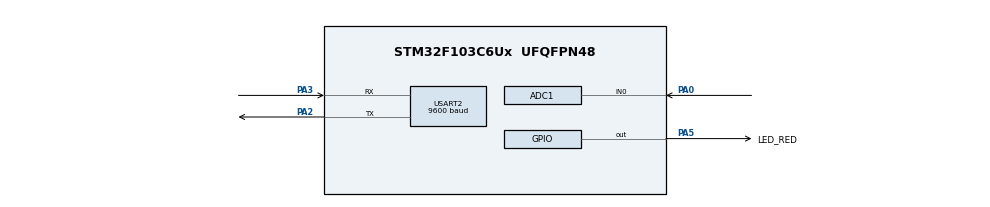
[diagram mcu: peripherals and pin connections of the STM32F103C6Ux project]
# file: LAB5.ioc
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ADC1.Channel-0\#ChannelRegularConversion=ADC_CHANNEL_0
ADC1.ContinuousConvMode=ENABLE
ADC1.NbrOfConversionFlag=1
ADC1.Rank-0\#ChannelRegularConversion=1
ADC1.SamplingTime-0\#ChannelRegularConversion=ADC_SAMPLETIME_1CYCLE_5
ADC1.master=1
Mcu.Family=STM32F1
Mcu.Name=STM32F103C6Ux
Mcu.Package=UFQFPN48
NVIC.ADC1_2_IRQn=true\:0\:0\:false\:false\:true\:true\:true\:true
NVIC.PriorityGroup=NVIC_PRIORITYGROUP_4
NVIC.TIM2_IRQn=true\:0\:0\:false\:false\:true\:true\:true\:true
NVIC.USART2_IRQn=true\:0\:0\:false\:false\:true\:true\:true\:true
PA0-WKUP.Signal=ADCx_IN0
PA2.Mode=Asynchronous
PA2.Signal=USART2_TX
PA3.Mode=Asynchronous
PA3.Signal=USART2_RX
PA5.GPIO_Label=LED_RED
PA5.Signal=GPIO_Output
ProjectManager.HeapSize=0x200
ProjectManager.StackSize=0x400
ProjectManager.TargetToolchain=STM32CubeIDE
RCC.APB1Freq_Value=8000000
RCC.APB2Freq_Value=8000000
SH.ADCx_IN0.0=ADC1_IN0,IN0
TIM2.Period=9
TIM2.Prescaler=7999
USART2.BaudRate=9600
USART2.VirtualMode=VM_ASYNC
VP_SYS_VS_ND.Mode=No_Debug
VP_TIM2_VS_ClockSourceINT.Mode=Internal
board=custom

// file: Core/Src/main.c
/* USER CODE BEGIN Header */
/**
  ******************************************************************************
  * @file           : main.c
  * @brief          : Main program body
  ******************************************************************************
  * @attention
  *
  * Copyright (c) 2025 STMicroelectronics.
  * All rights reserved.
  *
  * This software is licensed under terms that can be found in the LICENSE file
  * in the root directory of this software component.
  * If no LICENSE file comes with this software, it is provided AS-IS.
  *
  ******************************************************************************
  */
/* USER CODE END Header */
#include "main.h"

/* USER CODE BEGIN Includes */
#include <stdio.h>
#include "global.h"
#include "command_parser_fsm.h"
#include "uart_comm_fsm.h"
#include "software_timer.h"
/* USER CODE END Includes */

ADC_HandleTypeDef hadc1;

TIM_HandleTypeDef htim2;

UART_HandleTypeDef huart2;

/* USER CODE BEGIN PV */
uint8_t temp = 0;
uint8_t buffer[MAX_BUFFER_SIZE];
uint8_t index_buffer = 0;
uint8_t buffer_flag = 0;
uint8_t command_flag = 0;
uint8_t command_data = NO_CMD;
uint32_t ADC_Value = 0;
/* USER CODE END PV */

void SystemClock_Config(void);
static void MX_GPIO_Init(void);
static void MX_ADC1_Init(void);
static void MX_USART2_UART_Init(void);
static void MX_TIM2_Init(void);

int main(void)
{

  /* MCU Configuration--------------------------------------------------------*/

  /* Reset of all peripherals, Initializes the Flash interface and the Systick. */
  HAL_Init();

  /* Configure the system clock */
  SystemClock_Config();

  /* Initialize all configured peripherals */
  MX_GPIO_Init();
  MX_ADC1_Init();
  MX_USART2_UART_Init();
  MX_TIM2_Init();
  /* USER CODE BEGIN 2 */
  HAL_UART_Receive_IT(&huart2, &temp, 1); // Kích hoạt ngắt UART lần đầu
  HAL_ADC_Start(&hadc1);                  // Kích hoạt ADC
  HAL_TIM_Base_Start_IT(&htim2);
  /* USER CODE END 2 */

  /* Infinite loop */
  /* USER CODE BEGIN WHILE */
setTimer2(500);
  while (1)
  {
    /* USER CODE END WHILE */

    /* USER CODE BEGIN 3 */
      command_parser_fsm();
      uart_communiation_fsm();
      if(timer2_flag == 1){
    	  HAL_GPIO_TogglePin(LED_RED_GPIO_Port, LED_RED_Pin);
    	  setTimer2(500);
      }
  }
  /* USER CODE END 3 */
}

void SystemClock_Config(void)
{
  RCC_OscInitTypeDef RCC_OscInitStruct = {0};
  RCC_ClkInitTypeDef RCC_ClkInitStruct = {0};
  RCC_PeriphCLKInitTypeDef PeriphClkInit = {0};

  /** Initializes the RCC Oscillators according to the specified parameters
  * in the RCC_OscInitTypeDef structure.
  */
  RCC_OscInitStruct.OscillatorType = RCC_OSCILLATORTYPE_HSI;
  RCC_OscInitStruct.HSIState = RCC_HSI_ON;
  RCC_OscInitStruct.HSICalibrationValue = RCC_HSICALIBRATION_DEFAULT;
  RCC_OscInitStruct.PLL.PLLState = RCC_PLL_NONE;
  if (HAL_RCC_OscConfig(&RCC_OscInitStruct) != HAL_OK)
  {
    Error_Handler();
  }

  /** Initializes the CPU, AHB and APB buses clocks
  */
  RCC_ClkInitStruct.ClockType = RCC_CLOCKTYPE_HCLK|RCC_CLOCKTYPE_SYSCLK
                              |RCC_CLOCKTYPE_PCLK1|RCC_CLOCKTYPE_PCLK2;
  RCC_ClkInitStruct.SYSCLKSource = RCC_SYSCLKSOURCE_HSI;
  RCC_ClkInitStruct.AHBCLKDivider = RCC_SYSCLK_DIV1;
  RCC_ClkInitStruct.APB1CLKDivider = RCC_HCLK_DIV1;
  RCC_ClkInitStruct.APB2CLKDivider = RCC_HCLK_DIV1;

  if (HAL_RCC_ClockConfig(&RCC_ClkInitStruct, FLASH_LATENCY_0) != HAL_OK)
  {
    Error_Handler();
  }
  PeriphClkInit.PeriphClockSelection = RCC_PERIPHCLK_ADC;
  PeriphClkInit.AdcClockSelection = RCC_ADCPCLK2_DIV2;
  if (HAL_RCCEx_PeriphCLKConfig(&PeriphClkInit) != HAL_OK)
  {
    Error_Handler();
  }
}

static void MX_ADC1_Init(void)
{

  ADC_ChannelConfTypeDef sConfig = {0};

  /** Common config
  */
  hadc1.Instance = ADC1;
  hadc1.Init.ScanConvMode = ADC_SCAN_DISABLE;
  hadc1.Init.ContinuousConvMode = ENABLE;
  hadc1.Init.DiscontinuousConvMode = DISABLE;
  hadc1.Init.ExternalTrigConv = ADC_SOFTWARE_START;
  hadc1.Init.DataAlign = ADC_DATAALIGN_RIGHT;
  hadc1.Init.NbrOfConversion = 1;
  if (HAL_ADC_Init(&hadc1) != HAL_OK)
  {
    Error_Handler();
  }

  /** Configure Regular Channel
  */
  sConfig.Channel = ADC_CHANNEL_0;
  sConfig.Rank = ADC_REGULAR_RANK_1;
  sConfig.SamplingTime = ADC_SAMPLETIME_1CYCLE_5;
  if (HAL_ADC_ConfigChannel(&hadc1, &sConfig) != HAL_OK)
  {
    Error_Handler();
  }

}

static void MX_TIM2_Init(void)
{

  TIM_ClockConfigTypeDef sClockSourceConfig = {0};
  TIM_MasterConfigTypeDef sMasterConfig = {0};

  htim2.Instance = TIM2;
  htim2.Init.Prescaler = 7999;
  htim2.Init.CounterMode = TIM_COUNTERMODE_UP;
  htim2.Init.Period = 9;
  htim2.Init.ClockDivision = TIM_CLOCKDIVISION_DIV1;
  htim2.Init.AutoReloadPreload = TIM_AUTORELOAD_PRELOAD_DISABLE;
  if (HAL_TIM_Base_Init(&htim2) != HAL_OK)
  {
    Error_Handler();
  }
  sClockSourceConfig.ClockSource = TIM_CLOCKSOURCE_INTERNAL;
  if (HAL_TIM_ConfigClockSource(&htim2, &sClockSourceConfig) != HAL_OK)
  {
    Error_Handler();
  }
  sMasterConfig.MasterOutputTrigger = TIM_TRGO_RESET;
  sMasterConfig.MasterSlaveMode = TIM_MASTERSLAVEMODE_DISABLE;
  if (HAL_TIMEx_MasterConfigSynchronization(&htim2, &sMasterConfig) != HAL_OK)
  {
    Error_Handler();
  }

}

static void MX_USART2_UART_Init(void)
{

  huart2.Instance = USART2;
  huart2.Init.BaudRate = 9600;
  huart2.Init.WordLength = UART_WORDLENGTH_8B;
  huart2.Init.StopBits = UART_STOPBITS_1;
  huart2.Init.Parity = UART_PARITY_NONE;
  huart2.Init.Mode = UART_MODE_TX_RX;
  huart2.Init.HwFlowCtl = UART_HWCONTROL_NONE;
  huart2.Init.OverSampling = UART_OVERSAMPLING_16;
  if (HAL_UART_Init(&huart2) != HAL_OK)
  {
    Error_Handler();
  }

}

static void MX_GPIO_Init(void)
{
  GPIO_InitTypeDef GPIO_InitStruct = {0};

  /* GPIO Ports Clock Enable */
  __HAL_RCC_GPIOA_CLK_ENABLE();

  /*Configure GPIO pin Output Level */
  HAL_GPIO_WritePin(LED_RED_GPIO_Port, LED_RED_Pin, GPIO_PIN_RESET);

  /*Configure GPIO pin : LED_RED_Pin */
  GPIO_InitStruct.Pin = LED_RED_Pin;
  GPIO_InitStruct.Mode = GPIO_MODE_OUTPUT_PP;
  GPIO_InitStruct.Pull = GPIO_NOPULL;
  GPIO_InitStruct.Speed = GPIO_SPEED_FREQ_LOW;
  HAL_GPIO_Init(LED_RED_GPIO_Port, &GPIO_InitStruct);

}

/* USER CODE BEGIN 4 */
void HAL_UART_RxCpltCallback(UART_HandleTypeDef *huart) {
    if (huart->Instance == USART2) {
        buffer[index_buffer++] = temp;
        if (index_buffer >= MAX_BUFFER_SIZE) index_buffer = 0;
        buffer_flag = 1;
        HAL_UART_Receive_IT(&huart2, &temp, 1);
    }
}

void HAL_TIM_PeriodElapsedCallback(TIM_HandleTypeDef *htim) {
    if (htim->Instance == TIM2) {
        timerRun();
    }
}
/* USER CODE END 4 */

void Error_Handler(void)
{
  __disable_irq();
  while (1)
  {
  }
}
